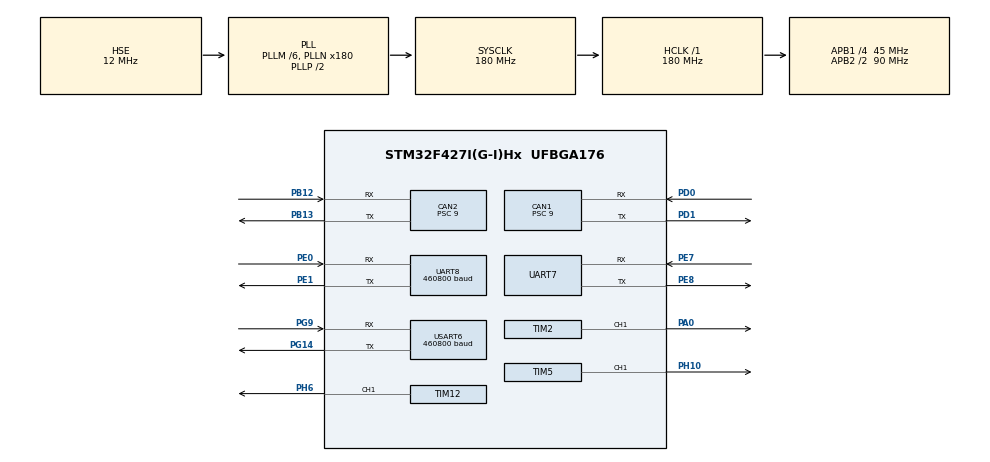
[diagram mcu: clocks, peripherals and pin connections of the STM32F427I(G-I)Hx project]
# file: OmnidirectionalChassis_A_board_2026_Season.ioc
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CAN1.BS1=CAN_BS1_2TQ
CAN1.BS2=CAN_BS2_2TQ
CAN1.CalculateBaudRate=1000000
CAN1.CalculateTimeBit=1000
CAN1.CalculateTimeQuantum=200.0
CAN1.Prescaler=9
CAN2.BS1=CAN_BS1_2TQ
CAN2.BS2=CAN_BS2_2TQ
CAN2.CalculateBaudRate=1000000
CAN2.CalculateTimeBit=1000
CAN2.CalculateTimeQuantum=200.0
CAN2.Prescaler=9
Dma.Request0=USART6_RX
Dma.Request1=USART6_TX
Dma.Request2=UART7_RX
Dma.Request3=UART7_TX
Dma.Request4=UART8_RX
Dma.Request5=UART8_TX
Dma.UART7_RX.2.Direction=DMA_PERIPH_TO_MEMORY
Dma.UART7_RX.2.FIFOMode=DMA_FIFOMODE_DISABLE
Dma.UART7_RX.2.Instance=DMA1_Stream3
Dma.UART7_RX.2.MemDataAlignment=DMA_MDATAALIGN_BYTE
Dma.UART7_RX.2.MemInc=DMA_MINC_ENABLE
Dma.UART7_RX.2.Mode=DMA_NORMAL
Dma.UART7_RX.2.PeriphDataAlignment=DMA_PDATAALIGN_BYTE
Dma.UART7_RX.2.PeriphInc=DMA_PINC_DISABLE
Dma.UART7_RX.2.Priority=DMA_PRIORITY_LOW
Dma.UART7_TX.3.Direction=DMA_MEMORY_TO_PERIPH
Dma.UART7_TX.3.FIFOMode=DMA_FIFOMODE_DISABLE
Dma.UART7_TX.3.Instance=DMA1_Stream1
Dma.UART7_TX.3.MemDataAlignment=DMA_MDATAALIGN_BYTE
Dma.UART7_TX.3.MemInc=DMA_MINC_ENABLE
Dma.UART7_TX.3.Mode=DMA_NORMAL
Dma.UART7_TX.3.PeriphDataAlignment=DMA_PDATAALIGN_BYTE
Dma.UART7_TX.3.PeriphInc=DMA_PINC_DISABLE
Dma.UART7_TX.3.Priority=DMA_PRIORITY_LOW
Dma.UART8_RX.4.Direction=DMA_PERIPH_TO_MEMORY
Dma.UART8_RX.4.FIFOMode=DMA_FIFOMODE_DISABLE
Dma.UART8_RX.4.Instance=DMA1_Stream6
Dma.UART8_RX.4.MemDataAlignment=DMA_MDATAALIGN_BYTE
Dma.UART8_RX.4.MemInc=DMA_MINC_ENABLE
Dma.UART8_RX.4.Mode=DMA_NORMAL
Dma.UART8_RX.4.PeriphDataAlignment=DMA_PDATAALIGN_BYTE
Dma.UART8_RX.4.PeriphInc=DMA_PINC_DISABLE
Dma.UART8_RX.4.Priority=DMA_PRIORITY_LOW
Dma.UART8_TX.5.Direction=DMA_MEMORY_TO_PERIPH
Dma.UART8_TX.5.FIFOMode=DMA_FIFOMODE_DISABLE
Dma.UART8_TX.5.Instance=DMA1_Stream0
Dma.UART8_TX.5.MemDataAlignment=DMA_MDATAALIGN_BYTE
Dma.UART8_TX.5.MemInc=DMA_MINC_ENABLE
Dma.UART8_TX.5.Mode=DMA_NORMAL
Dma.UART8_TX.5.PeriphDataAlignment=DMA_PDATAALIGN_BYTE
Dma.UART8_TX.5.PeriphInc=DMA_PINC_DISABLE
Dma.UART8_TX.5.Priority=DMA_PRIORITY_LOW
Dma.USART6_RX.0.Direction=DMA_PERIPH_TO_MEMORY
Dma.USART6_RX.0.FIFOMode=DMA_FIFOMODE_DISABLE
Dma.USART6_RX.0.Instance=DMA2_Stream1
Dma.USART6_RX.0.MemDataAlignment=DMA_MDATAALIGN_BYTE
Dma.USART6_RX.0.MemInc=DMA_MINC_ENABLE
Dma.USART6_RX.0.Mode=DMA_NORMAL
Dma.USART6_RX.0.PeriphDataAlignment=DMA_PDATAALIGN_BYTE
Dma.USART6_RX.0.PeriphInc=DMA_PINC_DISABLE
Dma.USART6_RX.0.Priority=DMA_PRIORITY_LOW
Dma.USART6_TX.1.Direction=DMA_MEMORY_TO_PERIPH
Dma.USART6_TX.1.FIFOMode=DMA_FIFOMODE_DISABLE
Dma.USART6_TX.1.Instance=DMA2_Stream6
Dma.USART6_TX.1.MemDataAlignment=DMA_MDATAALIGN_BYTE
Dma.USART6_TX.1.MemInc=DMA_MINC_ENABLE
Dma.USART6_TX.1.Mode=DMA_NORMAL
Dma.USART6_TX.1.PeriphDataAlignment=DMA_PDATAALIGN_BYTE
Dma.USART6_TX.1.PeriphInc=DMA_PINC_DISABLE
Dma.USART6_TX.1.Priority=DMA_PRIORITY_LOW
FREERTOS.Tasks01=defaultTask,0,128,StartDefaultTask,Default,NULL,Dynamic,NULL,NULL;Buzzer,-3,128,WGD,As external,NULL,Dynamic,NULL,NULL;myTask03,-3,256,StartTask03,As external,NULL,Dynamic,NULL,NULL
Mcu.Family=STM32F4
Mcu.Name=STM32F427I(G-I)Hx
Mcu.Package=UFBGA176
NVIC.CAN1_RX0_IRQn=true\:5\:0\:true\:false\:true\:true\:true\:true\:true
NVIC.CAN1_RX1_IRQn=true\:5\:0\:true\:false\:true\:true\:true\:true\:true
NVIC.CAN1_SCE_IRQn=true\:5\:0\:true\:false\:true\:true\:true\:true\:true
NVIC.CAN1_TX_IRQn=true\:5\:0\:true\:false\:true\:true\:true\:true\:true
NVIC.CAN2_RX0_IRQn=true\:5\:0\:true\:false\:true\:true\:true\:true\:true
NVIC.CAN2_RX1_IRQn=true\:5\:0\:true\:false\:true\:true\:true\:true\:true
NVIC.CAN2_SCE_IRQn=true\:5\:0\:true\:false\:true\:true\:true\:true\:true
NVIC.CAN2_TX_IRQn=true\:5\:0\:true\:false\:true\:true\:true\:true\:true
NVIC.DMA1_Stream0_IRQn=true\:5\:0\:false\:false\:true\:true\:false\:true\:true
NVIC.DMA1_Stream1_IRQn=true\:5\:0\:true\:false\:true\:true\:false\:true\:true
NVIC.DMA1_Stream3_IRQn=true\:5\:0\:true\:false\:true\:true\:false\:true\:true
NVIC.DMA1_Stream6_IRQn=true\:5\:0\:false\:false\:true\:true\:false\:true\:true
NVIC.DMA2_Stream1_IRQn=true\:5\:0\:true\:false\:true\:true\:false\:true\:true
NVIC.DMA2_Stream6_IRQn=true\:5\:0\:false\:false\:true\:true\:false\:true\:true
NVIC.PriorityGroup=NVIC_PRIORITYGROUP_4
NVIC.TIM1_UP_TIM10_IRQn=true\:15\:0\:false\:false\:true\:false\:false\:true\:true
NVIC.TIM2_IRQn=true\:5\:0\:false\:false\:true\:true\:true\:true\:true
NVIC.TIM5_IRQn=true\:5\:0\:false\:false\:true\:true\:true\:true\:true
NVIC.TIM8_BRK_TIM12_IRQn=true\:5\:0\:false\:false\:true\:true\:true\:true\:true
NVIC.TimeBase=TIM1_UP_TIM10_IRQn
NVIC.TimeBaseIP=TIM1
NVIC.UART7_IRQn=true\:5\:0\:true\:false\:true\:true\:true\:true\:true
NVIC.UART8_IRQn=true\:5\:0\:false\:false\:true\:true\:true\:true\:true
NVIC.USART6_IRQn=true\:5\:0\:true\:false\:true\:true\:false\:true\:true
PA0/WKUP.Signal=S_TIM2_CH1_ETR
PA13.Mode=Serial_Wire
PA13.Signal=SYS_JTMS-SWDIO
PA14.Mode=Serial_Wire
PA14.Signal=SYS_JTCK-SWCLK
PB12.Mode=CAN_Activate
PB12.Signal=CAN2_RX
PB13.Mode=CAN_Activate
PB13.Signal=CAN2_TX
PD0.Mode=CAN_Activate
PD0.Signal=CAN1_RX
PD1.Mode=CAN_Activate
PD1.Signal=CAN1_TX
PE0.Mode=Asynchronous
PE0.Signal=UART8_RX
PE1.Mode=Asynchronous
PE1.Signal=UART8_TX
PE7.Mode=Asynchronous
PE7.Signal=UART7_RX
PE8.Mode=Asynchronous
PE8.Signal=UART7_TX
PG14.Mode=Asynchronous
PG14.Signal=USART6_TX
PG9.Mode=Asynchronous
PG9.Signal=USART6_RX
PH0/OSC_IN.Mode=HSE-External-Oscillator
PH0/OSC_IN.Signal=RCC_OSC_IN
PH1/OSC_OUT.Mode=HSE-External-Oscillator
PH1/OSC_OUT.Signal=RCC_OSC_OUT
PH10.Signal=S_TIM5_CH1
PH6.Signal=S_TIM12_CH1
ProjectManager.HeapSize=0x200
ProjectManager.StackSize=0x400
ProjectManager.TargetToolchain=MDK-ARM V5
RCC.48MHZClocksFreq_Value=90000000
RCC.AHBFreq_Value=180000000
RCC.APB1CLKDivider=RCC_HCLK_DIV4
RCC.APB1Freq_Value=45000000
RCC.APB1TimFreq_Value=90000000
RCC.APB2CLKDivider=RCC_HCLK_DIV2
RCC.APB2Freq_Value=90000000
RCC.APB2TimFreq_Value=180000000
RCC.CortexFreq_Value=180000000
RCC.HCLKFreq_Value=180000000
RCC.HSE_VALUE=12000000
RCC.HSI_VALUE=16000000
RCC.LSE_VALUE=32768
RCC.PLLM=6
RCC.PLLN=180
RCC.PLLSourceVirtual=RCC_PLLSOURCE_HSE
RCC.SYSCLKFreq_VALUE=180000000
RCC.SYSCLKSource=RCC_SYSCLKSOURCE_PLLCLK
RCC.VCOOutputFreq_Value=360000000
SH.S_TIM12_CH1.0=TIM12_CH1,PWM Generation1 CH1
SH.S_TIM2_CH1_ETR.0=TIM2_CH1,PWM Generation1 CH1
SH.S_TIM5_CH1.0=TIM5_CH1,PWM Generation1 CH1
TIM12.Channel-PWM\ Generation1\ CH1=TIM_CHANNEL_1
TIM12.Period=370-1
TIM12.Prescaler=180-1
TIM2.Channel-PWM\ Generation1\ CH1=TIM_CHANNEL_1
TIM2.Period=1000-1
TIM2.Prescaler=180-1
TIM5.Channel-PWM\ Generation1\ CH1=TIM_CHANNEL_1
TIM5.Period=1000-1
TIM5.Prescaler=180-1
UART7.VirtualMode=Asynchronous
UART8.BaudRate=460800
UART8.VirtualMode=Asynchronous
USART6.BaudRate=460800
USART6.VirtualMode=VM_ASYNC
VP_FREERTOS_VS_CMSIS_V1.Mode=CMSIS_V1
VP_SYS_VS_tim1.Mode=TIM1
board=custom

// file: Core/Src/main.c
/* USER CODE BEGIN Header */
/**
  ******************************************************************************
  * @file           : main.c
  * @brief          : Main program body
  ******************************************************************************
  * @attention
  *
  * Copyright (c) 2025 STMicroelectronics.
  * All rights reserved.
  *
  * This software is licensed under terms that can be found in the LICENSE file
  * in the root directory of this software component.
  * If no LICENSE file comes with this software, it is provided AS-IS.
  *
  ******************************************************************************
  */
/* USER CODE END Header */
#include "main.h"
#include "cmsis_os.h"
#include "can.h"
#include "dma.h"
#include "tim.h"
#include "usart.h"
#include "gpio.h"

void SystemClock_Config(void);
void MX_FREERTOS_Init(void);

/* USER CODE BEGIN 0 */
extern void CAN_ConfigFilter();
extern void RxEventCallback();
extern void Communication_AtoC_Tansmit();
extern void Communication_AtoC_Receive();
extern void Invoke();
extern void ChassisSolution();
extern void Restart();
/* USER CODE END 0 */

int main(void)
{

  /* MCU Configuration--------------------------------------------------------*/

  /* Reset of all peripherals, Initializes the Flash interface and the Systick. */
  HAL_Init();

  /* Configure the system clock */
  SystemClock_Config();

  /* Initialize all configured peripherals */
  MX_GPIO_Init();
  MX_DMA_Init();
  MX_CAN1_Init();
  MX_CAN2_Init();
  MX_USART6_UART_Init();
  MX_UART7_Init();
  MX_TIM2_Init();
  MX_UART8_Init();
  MX_TIM5_Init();
  MX_TIM12_Init();
  /* USER CODE BEGIN 2 */
  HAL_TIM_PWM_Start_IT(&htim12, TIM_CHANNEL_1);
  HAL_TIM_Base_Start_IT(&htim2);
  HAL_TIM_Base_Start_IT(&htim5);
  CAN_ConfigFilter();
  RxEventCallback();
  /* USER CODE END 2 */

  /* Call init function for freertos objects (in cmsis_os2.c) */
  MX_FREERTOS_Init();

  /* Start scheduler */
  osKernelStart();

  /* We should never get here as control is now taken by the scheduler */

  /* Infinite loop */
  while (1)
  {

  }
}

void SystemClock_Config(void)
{
  RCC_OscInitTypeDef RCC_OscInitStruct = {0};
  RCC_ClkInitTypeDef RCC_ClkInitStruct = {0};

  /** Configure the main internal regulator output voltage
  */
  __HAL_RCC_PWR_CLK_ENABLE();
  __HAL_PWR_VOLTAGESCALING_CONFIG(PWR_REGULATOR_VOLTAGE_SCALE1);

  /** Initializes the RCC Oscillators according to the specified parameters
  * in the RCC_OscInitTypeDef structure.
  */
  RCC_OscInitStruct.OscillatorType = RCC_OSCILLATORTYPE_HSE;
  RCC_OscInitStruct.HSEState = RCC_HSE_ON;
  RCC_OscInitStruct.PLL.PLLState = RCC_PLL_ON;
  RCC_OscInitStruct.PLL.PLLSource = RCC_PLLSOURCE_HSE;
  RCC_OscInitStruct.PLL.PLLM = 6;
  RCC_OscInitStruct.PLL.PLLN = 180;
  RCC_OscInitStruct.PLL.PLLP = RCC_PLLP_DIV2;
  RCC_OscInitStruct.PLL.PLLQ = 4;
  if (HAL_RCC_OscConfig(&RCC_OscInitStruct) != HAL_OK)
  {
    Error_Handler();
  }

  /** Activate the Over-Drive mode
  */
  if (HAL_PWREx_EnableOverDrive() != HAL_OK)
  {
    Error_Handler();
  }

  /** Initializes the CPU, AHB and APB buses clocks
  */
  RCC_ClkInitStruct.ClockType = RCC_CLOCKTYPE_HCLK|RCC_CLOCKTYPE_SYSCLK
                              |RCC_CLOCKTYPE_PCLK1|RCC_CLOCKTYPE_PCLK2;
  RCC_ClkInitStruct.SYSCLKSource = RCC_SYSCLKSOURCE_PLLCLK;
  RCC_ClkInitStruct.AHBCLKDivider = RCC_SYSCLK_DIV1;
  RCC_ClkInitStruct.APB1CLKDivider = RCC_HCLK_DIV4;
  RCC_ClkInitStruct.APB2CLKDivider = RCC_HCLK_DIV2;

  if (HAL_RCC_ClockConfig(&RCC_ClkInitStruct, FLASH_LATENCY_5) != HAL_OK)
  {
    Error_Handler();
  }
}

void HAL_TIM_PeriodElapsedCallback(TIM_HandleTypeDef *htim)
{
  if (htim->Instance == TIM1) {
    HAL_IncTick();
  }
  /* USER CODE BEGIN Callback 1 */
  if(htim->Instance == TIM2)
	{
		Communication_AtoC_Tansmit();
		Invoke();
		ChassisSolution();
    Restart();
  }
  /* USER CODE END Callback 1 */
}

void Error_Handler(void)
{
  __disable_irq();
  while (1)
  {
  }
}

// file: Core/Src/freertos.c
/* USER CODE BEGIN Header */
/**
  ******************************************************************************
  * File Name          : freertos.c
  * Description        : Code for freertos applications
  ******************************************************************************
  * @attention
  *
  * Copyright (c) 2025 STMicroelectronics.
  * All rights reserved.
  *
  * This software is licensed under terms that can be found in the LICENSE file
  * in the root directory of this software component.
  * If no LICENSE file comes with this software, it is provided AS-IS.
  *
  ******************************************************************************
  */
/* USER CODE END Header */

#include "FreeRTOS.h"
#include "task.h"
#include "main.h"
#include "cmsis_os.h"

osThreadId defaultTaskHandle;
osThreadId BuzzerHandle;
osThreadId myTask03Handle;

void StartDefaultTask(void const * argument);
extern void WGD(void const * argument);
extern void StartTask03(void const * argument);

void MX_FREERTOS_Init(void); /* (MISRA C 2004 rule 8.1) */

/* GetIdleTaskMemory prototype (linked to static allocation support) */
void vApplicationGetIdleTaskMemory( StaticTask_t **ppxIdleTaskTCBBuffer, StackType_t **ppxIdleTaskStackBuffer, uint32_t *pulIdleTaskStackSize );

/* USER CODE BEGIN GET_IDLE_TASK_MEMORY */
static StaticTask_t xIdleTaskTCBBuffer;
static StackType_t xIdleStack[configMINIMAL_STACK_SIZE];

void vApplicationGetIdleTaskMemory( StaticTask_t **ppxIdleTaskTCBBuffer, StackType_t **ppxIdleTaskStackBuffer, uint32_t *pulIdleTaskStackSize )
{
  *ppxIdleTaskTCBBuffer = &xIdleTaskTCBBuffer;
  *ppxIdleTaskStackBuffer = &xIdleStack[0];
  *pulIdleTaskStackSize = configMINIMAL_STACK_SIZE;
  /* place for user code */
}
/* USER CODE END GET_IDLE_TASK_MEMORY */

void MX_FREERTOS_Init(void) {

  /* Create the thread(s) */
  /* definition and creation of defaultTask */
  osThreadDef(defaultTask, StartDefaultTask, osPriorityNormal, 0, 128);
  defaultTaskHandle = osThreadCreate(osThread(defaultTask), NULL);

  /* definition and creation of Buzzer */
  osThreadDef(Buzzer, WGD, osPriorityIdle, 0, 128);
  BuzzerHandle = osThreadCreate(osThread(Buzzer), NULL);

  /* definition and creation of myTask03 */
  osThreadDef(myTask03, StartTask03, osPriorityIdle, 0, 256);
  myTask03Handle = osThreadCreate(osThread(myTask03), NULL);

}

void StartDefaultTask(void const * argument)
{
  for(;;)
  {
    osDelay(1);
  }
}
